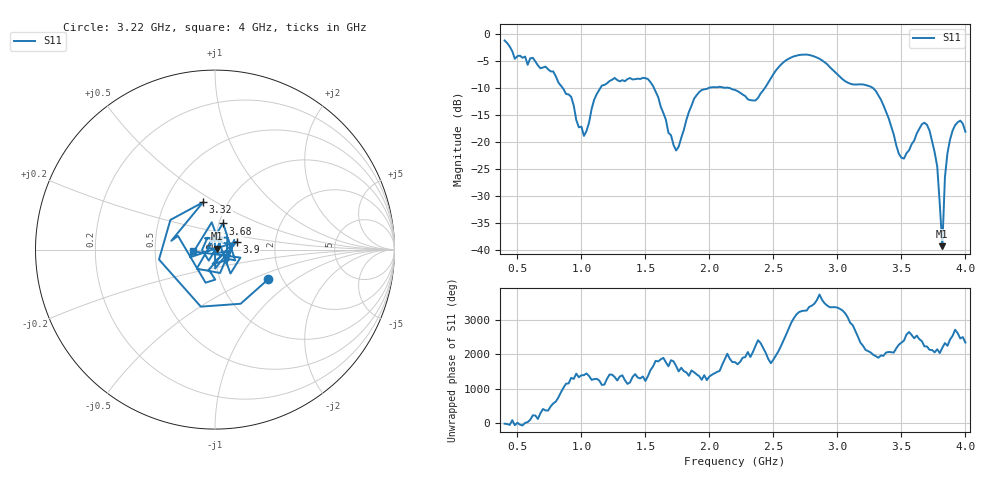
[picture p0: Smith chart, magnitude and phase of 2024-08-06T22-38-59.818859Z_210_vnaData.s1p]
!Created with skrf (http://scikit-rf.org).
# Hz S RI R 50.0
!freq ReS11 ImS11
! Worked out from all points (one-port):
!   181 points, 400 MHz to 4 GHz, reference 50 ohm
!   lowest |S11| = -39.3 dB at 3.82 GHz (marker M1), VSWR 1.02, Z = 50.9 + j0.607 ohm
!   |S11| at or under -10 dB: 855.5 MHz to 1.147 GHz (291.5 MHz wide, 29.1 % of centre); 1.568 GHz to 1.989 GHz (421.4 MHz wide, 23.7 % of centre); 3.281 GHz to end of sweep (the widest 3 of 4)
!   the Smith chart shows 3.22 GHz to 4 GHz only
!   S11 on the Smith chart (normalised r, x): 3.22 GHz: 1.69, -0.63; 3.32 GHz: 0.77, +0.44; 3.68 GHz: 1.04, +0.31; 3.9 GHz: 1.27, +0.11; 4 GHz: 0.78, -0.02
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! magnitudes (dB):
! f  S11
! 400 MHz  -1.1
! 480 MHz  -4.5
! 620 MHz  -4.3
! 860 MHz  -10.1
! 920 MHz  -11.6
! 1.02 GHz  -18.8
! 1.16 GHz  -9.5
! 1.3 GHz  -8.7
! 1.52 GHz  -8.3
! 1.72 GHz  -20.5
! 1.76 GHz  -20.8
! 1.92 GHz  -10.7
! 2.2 GHz  -10.3
! 2.36 GHz  -12.3
! 2.66 GHz  -4.1
! 2.86 GHz  -4.5
! 3.1 GHz  -9.1
! 3.22 GHz  -9.4
! 3.32 GHz  -11.3
! 3.48 GHz  -22.1
! 3.56 GHz  -21.5
! 3.68 GHz  -16.4
! 3.78 GHz  -24.5
! 3.82 GHz  -39.3
! 3.84 GHz  -26.5
! 3.9 GHz  -17.8
! 3.96 GHz  -16.0
! 4 GHz  -18.0
